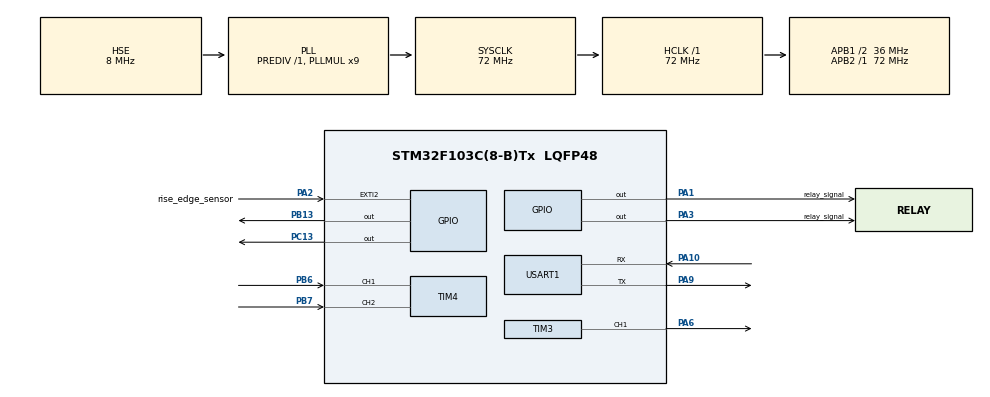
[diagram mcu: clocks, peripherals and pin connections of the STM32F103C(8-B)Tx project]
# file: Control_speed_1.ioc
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Dma.Request0=USART1_RX
Dma.USART1_RX.0.Direction=DMA_PERIPH_TO_MEMORY
Dma.USART1_RX.0.Instance=DMA1_Channel5
Dma.USART1_RX.0.MemDataAlignment=DMA_MDATAALIGN_BYTE
Dma.USART1_RX.0.MemInc=DMA_MINC_ENABLE
Dma.USART1_RX.0.Mode=DMA_CIRCULAR
Dma.USART1_RX.0.PeriphDataAlignment=DMA_PDATAALIGN_BYTE
Dma.USART1_RX.0.PeriphInc=DMA_PINC_DISABLE
Dma.USART1_RX.0.Priority=DMA_PRIORITY_LOW
Mcu.Family=STM32F1
Mcu.Name=STM32F103C(8-B)Tx
Mcu.Package=LQFP48
NVIC.DMA1_Channel5_IRQn=true\:5\:0\:true\:false\:true\:false\:true
NVIC.EXTI2_IRQn=true\:0\:0\:false\:false\:true\:true\:true
NVIC.PriorityGroup=NVIC_PRIORITYGROUP_4
NVIC.TIM2_IRQn=true\:2\:0\:true\:false\:true\:true\:true
NVIC.USART1_IRQn=true\:0\:0\:false\:false\:true\:true\:true
PA1.GPIO_Label=relay_signal
PA1.Signal=GPIO_Output
PA10.Mode=Asynchronous
PA10.Signal=USART1_RX
PA13.Mode=Serial_Wire
PA13.Signal=SYS_JTMS-SWDIO
PA14.Mode=Serial_Wire
PA14.Signal=SYS_JTCK-SWCLK
PA2.GPIO_Label=rise_edge_sensor
PA2.GPIO_PuPd=GPIO_PULLUP
PA2.Signal=GPXTI2
PA3.GPIO_Label=relay_signal
PA3.Signal=GPIO_Output
PA6.Signal=S_TIM3_CH1
PA9.Mode=Asynchronous
PA9.Signal=USART1_TX
PB13.Signal=GPIO_Output
PB6.Signal=S_TIM4_CH1
PB7.Signal=S_TIM4_CH2
PC13-TAMPER-RTC.Signal=GPIO_Output
PD0-OSC_IN.Mode=HSE-External-Oscillator
PD0-OSC_IN.Signal=RCC_OSC_IN
PD1-OSC_OUT.Mode=HSE-External-Oscillator
PD1-OSC_OUT.Signal=RCC_OSC_OUT
ProjectManager.HeapSize=0x200
ProjectManager.StackSize=0x400
ProjectManager.TargetToolchain=MDK-ARM V5.32
RCC.AHBFreq_Value=72000000
RCC.APB1CLKDivider=RCC_HCLK_DIV2
RCC.APB1Freq_Value=36000000
RCC.APB1TimFreq_Value=72000000
RCC.APB2Freq_Value=72000000
RCC.APB2TimFreq_Value=72000000
RCC.HCLKFreq_Value=72000000
RCC.PLLMUL=RCC_PLL_MUL9
RCC.PLLSourceVirtual=RCC_PLLSOURCE_HSE
RCC.SYSCLKFreq_VALUE=72000000
RCC.SYSCLKSource=RCC_SYSCLKSOURCE_PLLCLK
RCC.USBFreq_Value=72000000
SH.S_TIM3_CH1.0=TIM3_CH1,PWM Generation1 CH1
SH.S_TIM4_CH1.0=TIM4_CH1,Encoder_Interface
SH.S_TIM4_CH2.0=TIM4_CH2,Encoder_Interface
TIM2.Period=11999
TIM2.Prescaler=299
TIM3.Channel-PWM\ Generation1\ CH1=TIM_CHANNEL_1
TIM3.Period=7199
TIM3.Prescaler=9
TIM4.EncoderMode=TIM_ENCODERMODE_TI12
USART1.VirtualMode=VM_ASYNC
VP_TIM2_VS_ClockSourceINT.Mode=Internal
board=custom

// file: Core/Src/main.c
/* USER CODE BEGIN Header */
/**
  ******************************************************************************
  * @file           : main.c
  * @brief          : Main program body
  ******************************************************************************
  * @attention
  *
  * Copyright (c) 2023 STMicroelectronics.
  * All rights reserved.
  *
  * This software is licensed under terms that can be found in the LICENSE file
  * in the root directory of this software component.
  * If no LICENSE file comes with this software, it is provided AS-IS.
  *
  ******************************************************************************
  */
/* USER CODE END Header */
#include "main.h"
#include "dma.h"
#include "tim.h"
#include "usart.h"
#include "gpio.h"

/* USER CODE BEGIN Includes */
#include <string.h>
#include <stdbool.h>
#include <math.h>
/* USER CODE END Includes */

/* USER CODE BEGIN PTD */
const int MAX_LEN = 5;
const int NEW_RECIEVE = 11;
const int OLD_RECIEVE = 22;
uint8_t oldRxData[22] = {0};
uint8_t newRxData[11] = {0};
uint8_t nTxData[5] = {0};

uint8_t reStart[] = {0x00};
uint8_t reStop[] = {0x00};
uint8_t reDevice[] = {0x00};
uint8_t reCmd[2] = {0};
uint8_t reData[6] = {0};
uint8_t reComma[] = {0x00};
uint8_t sendData[2] = {0};
uint8_t sendStart[] = {0x30};
uint8_t sendStop[] = {0x31};
uint8_t sendDevice[] = {0x32};
uint8_t Comma[] = {0x2C};
/* USER CODE END PTD */

/* USER CODE BEGIN PM */
int enc = 0;
double speed = 0;
double v_speed = 0;
double Kp =950, Ki=830, Kd =320;

int duty=0;
double e, ep, p_e=0, pp_e=0, pPart=0 , iPart=0, dPart=0, udk, predPart = 0, pwm, intergralspeed, pre_e;
int m_i = 0;
double setpoint = 2,acc_for_pos,vel_for_pos;
double speed_kalman,temp5,position_kalman,sp_kalman,pos_kalman,mi_kalman;
int  run=0, mode=0;
float dErrorTerm1, dErrorTerm2;
float alpha, beta, gamma, delta, dPIDResult, dPIDResultTerm;
bool flagStart = false;
bool DataAvailable = false;
bool isSizeError;

/* USER CODE END PM */

/* USER CODE BEGIN PV */
int32_t ENC0DER_GetSpeed(void);
//void HAL_TIM_IC_CaptureCallback(TIM_HandleTypeDef *htim);
/* USER CODE END PV */

void SystemClock_Config(void);

/* USER CODE BEGIN 0 */
void PID_speed(double act);
void SubFrame(void);
void WriteComm(uint8_t *pBuff, uint8_t nSize);
void ReadComm(uint8_t *pBuff, uint8_t nSize);
void subString(uint8_t *s, uint8_t *t,int start, int end);
void removeComma(uint8_t *oldFrame, uint8_t *newFrame, int start, int end);

/* USER CODE END 0 */

int main(void)
{
  /* USER CODE BEGIN 1 */
	isSizeError = false;

  /* USER CODE END 1 */

  /* MCU Configuration--------------------------------------------------------*/

  /* Reset of all peripherals, Initializes the Flash interface and the Systick. */
  HAL_Init();

  /* Configure the system clock */
  SystemClock_Config();

  /* Initialize all configured peripherals */
  MX_GPIO_Init();
  MX_TIM3_Init();
  MX_TIM4_Init();
  MX_TIM2_Init();
  MX_DMA_Init();
  MX_USART1_UART_Init();
  /* USER CODE BEGIN 2 */
	HAL_TIM_Base_Start_IT(&htim2);
	HAL_TIM_PWM_Start(&htim3, TIM_CHANNEL_1);
	HAL_TIM_Encoder_Start(&htim4, TIM_CHANNEL_1);
	HAL_TIM_Encoder_Start(&htim4, TIM_CHANNEL_2);
	HAL_UART_Receive_DMA(&huart1,(uint8_t *)oldRxData, sizeof(oldRxData));
	__HAL_TIM_SET_COUNTER(&htim4, 0);

	HAL_GPIO_WritePin(GPIOA, GPIO_PIN_1, GPIO_PIN_RESET);

  /* USER CODE END 2 */

  /* Infinite loop */
  while (1)
  {

    /* USER CODE BEGIN 3 */
		removeComma(oldRxData, newRxData, 0, 20);
    ReadComm(newRxData,11);
		if (DataAvailable == true)
		{
			if (reCmd[0] == 0x37 && reCmd[1] == 0x30 && reDevice[0] == 0x32)
			{
				pp_e = 3;
				flagStart = true;
				setpoint = (double)(reData[0]-0x30);
			}
			else if (reCmd[0] == 0x37 && reCmd[1] == 0x31 && reDevice[0] == 0x32)
			{
				pp_e = 4;
				flagStart = false;
				HAL_GPIO_WritePin(GPIOC, GPIO_PIN_13, GPIO_PIN_SET);
				HAL_GPIO_WritePin(GPIOB, GPIO_PIN_13, GPIO_PIN_RESET);
				__HAL_TIM_SET_COMPARE(&htim3, TIM_CHANNEL_1,0);
			}
			else if (reCmd[0] == 0x38 && reCmd[1] == 0x30 && reDevice[0] == 0x32)
			{
				pp_e = 5;
				double pre_v_speed = 0 ;
				sendData[0] = floor(v_speed);
				pre_v_speed = (v_speed - floor(v_speed))* 10 ;
				sendData[1] = floor(pre_v_speed);
				SubFrame();
			}
			else if (reCmd[0] == 0x39 && reCmd[1] == 0x30 && reDevice[0] == 0x32)
			{
				isSizeError = true;
				HAL_GPIO_WritePin(GPIOA, GPIO_PIN_1, GPIO_PIN_SET);
			}
			DataAvailable = false;
		}
  }
  /* USER CODE END 3 */
}

void SystemClock_Config(void)
{
  RCC_OscInitTypeDef RCC_OscInitStruct = {0};
  RCC_ClkInitTypeDef RCC_ClkInitStruct = {0};

  /** Initializes the RCC Oscillators according to the specified parameters
  * in the RCC_OscInitTypeDef structure.
  */
  RCC_OscInitStruct.OscillatorType = RCC_OSCILLATORTYPE_HSE;
  RCC_OscInitStruct.HSEState = RCC_HSE_ON;
  RCC_OscInitStruct.HSEPredivValue = RCC_HSE_PREDIV_DIV1;
  RCC_OscInitStruct.HSIState = RCC_HSI_ON;
  RCC_OscInitStruct.PLL.PLLState = RCC_PLL_ON;
  RCC_OscInitStruct.PLL.PLLSource = RCC_PLLSOURCE_HSE;
  RCC_OscInitStruct.PLL.PLLMUL = RCC_PLL_MUL9;
  if (HAL_RCC_OscConfig(&RCC_OscInitStruct) != HAL_OK)
  {
    Error_Handler();
  }
  /** Initializes the CPU, AHB and APB buses clocks
  */
  RCC_ClkInitStruct.ClockType = RCC_CLOCKTYPE_HCLK|RCC_CLOCKTYPE_SYSCLK
                              |RCC_CLOCKTYPE_PCLK1|RCC_CLOCKTYPE_PCLK2;
  RCC_ClkInitStruct.SYSCLKSource = RCC_SYSCLKSOURCE_PLLCLK;
  RCC_ClkInitStruct.AHBCLKDivider = RCC_SYSCLK_DIV1;
  RCC_ClkInitStruct.APB1CLKDivider = RCC_HCLK_DIV2;
  RCC_ClkInitStruct.APB2CLKDivider = RCC_HCLK_DIV1;

  if (HAL_RCC_ClockConfig(&RCC_ClkInitStruct, FLASH_LATENCY_2) != HAL_OK)
  {
    Error_Handler();
  }
}

/* USER CODE BEGIN 4 */
void HAL_TIM_PeriodElapsedCallback(TIM_HandleTypeDef *htim)
{
 if(htim->Instance == htim2.Instance)
 {
	 if (flagStart == true)
	 { enc = (int32_t)__HAL_TIM_GetCounter(&htim4);
	 if (enc  > 64000 )
	 {  enc = 65535 - enc;}
	 speed = (enc*60)/0.05/2400;
   v_speed = (speed * 3.14159 * 3.5) / 60;
	 PID_speed(v_speed);

  	__HAL_TIM_SET_COUNTER(&htim4, 0);
   }
 }
}

void PID_speed(double act)
{
	float dTs = 0.05f;
e = setpoint - act;
alpha = 2*dTs*Kp + Ki*dTs*dTs + 2*Kd;
beta = Ki*dTs*dTs - 4*Kd - 2*dTs*Kp;
gamma = 2*Kd;
 delta = 2*dTs;
dPIDResult = (alpha*e + beta*dErrorTerm1 + gamma*dErrorTerm2 + delta*dPIDResultTerm)/delta;
dPIDResultTerm = dPIDResult;
dErrorTerm2 = dErrorTerm1;
dErrorTerm1 = e;
//udk = dPIDResult;

 if ((int)dPIDResult > 7199)
    { pwm = 7199;
		dPIDResult = 7199;}

 else if (dPIDResult < 0)
 { pwm = -dPIDResult;
	 HAL_GPIO_WritePin(GPIOB, GPIO_PIN_13, GPIO_PIN_RESET);
	 HAL_GPIO_WritePin(GPIOC, GPIO_PIN_13, GPIO_PIN_SET);
 }
 else if ((int)dPIDResult < -7199)
	 pwm = 7199;
 else
 {pwm = dPIDResult;
   HAL_GPIO_WritePin(GPIOB, GPIO_PIN_13, GPIO_PIN_RESET);
	  HAL_GPIO_WritePin(GPIOC, GPIO_PIN_13, GPIO_PIN_SET);
 }

   duty=(int)pwm;
 	 __HAL_TIM_SET_COMPARE(&htim3, TIM_CHANNEL_1,duty);
}

void SubFrame(void)
{
	    int nIndex = 0;
     	memcpy(nTxData + nIndex,sendStart,1);
			nIndex += 1;
			memcpy(nTxData + nIndex,sendDevice,1);
			nIndex += 1;
			memcpy(nTxData + nIndex,sendData,2);
			nIndex += 2;
			memcpy(nTxData + nIndex,sendStop,1);
			WriteComm(nTxData, 5);
}

void WriteComm(uint8_t *pBuff, uint8_t nSize){

	 HAL_UART_Transmit(&huart1, pBuff, nSize, 1000);
}

void HAL_UART_RxCpltCallback(UART_HandleTypeDef *huart)
{
	if(huart->Instance == huart1.Instance)
	{
		DataAvailable = true;
	}
}

void ReadComm(uint8_t *pBuff, uint8_t nSize)
{
	if((pBuff[0] == 0x30) && (pBuff[10]) == 0x31 )
	{
		  subString(pBuff,reStart,0,0);
	 	  subString(pBuff,reDevice,1,1);
	    subString(pBuff,reCmd,2,3);
	  	subString(pBuff,reData,4,9);
	  	subString(pBuff,reStop,10,10);
	}

}

void removeComma(uint8_t *oldFrame, uint8_t *newFrame, int start, int end)
{
	int index = 0;

	for(int i = start; i <= end; i = i+2)  // start 0 , end 20
	{
		newFrame[index] = oldFrame[i];
		index++;
	}
}

void subString(uint8_t *s, uint8_t *t,int start, int end)
{
	int index = 0;
	for(int i = start; i <= end; i++)
	{
		t[index] = s[i];
		index++;
	}
}

/* EXTI */
void HAL_GPIO_EXTI_Callback(uint16_t GPIO_Pin)
{
	UNUSED(GPIO_Pin);
	if(GPIO_Pin == rise_edge_sensor_Pin){
		if(isSizeError == true) {
			isSizeError = false;
			HAL_GPIO_WritePin(GPIOA, GPIO_PIN_1, GPIO_PIN_RESET);
		}
	 }
}
void Error_Handler(void)
{
  __disable_irq();
  while (1)
  {
  }
}
